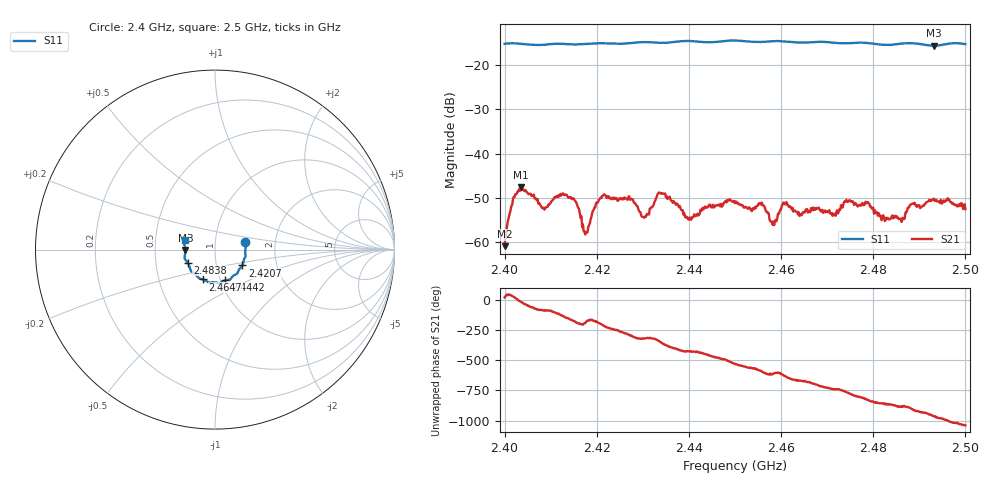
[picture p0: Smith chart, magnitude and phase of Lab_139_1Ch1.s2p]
# Hz S RI R 50
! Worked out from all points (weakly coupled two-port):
!   601 points, 2.4 GHz to 2.5 GHz, reference 50 ohm
!   highest |S21| = -47.63 dB at 2.4035 GHz (marker M1); lowest = -60.9 dB at 2.4 GHz (marker M2)
!   lowest |S11| = -15.6 dB at 2.4932 GHz (marker M3), VSWR 1.40, Z = 35.8 - j0.137 ohm
!   |S11| at or under -10 dB: start of sweep to end of sweep
!   S12 and S22 are empty: the file has one direction only
!   S11 on the Smith chart (normalised r, x): 2.4 GHz: 1.40, +0.12; 2.4207 GHz: 1.34, -0.24; 2.4442 GHz: 1.05, -0.37; 2.4647 GHz: 0.83, -0.29; 2.4838 GHz: 0.73, -0.11; 2.5 GHz: 0.71, +0.07
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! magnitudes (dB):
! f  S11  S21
! 2.4 GHz  -15.2  -60.9
! 2.4018 GHz  -15.1  -50.2
! 2.4035 GHz  -15.2  -47.6
! 2.4085 GHz  -15.4  -52.2
! 2.4132 GHz  -15.3  -49.2
! 2.4167 GHz  -15.3  -54.2
! 2.4178 GHz  -15.2  -57.8
! 2.4207 GHz  -15.1  -50.2
! 2.4302 GHz  -14.8  -54.3
! 2.4333 GHz  -15.0  -49.0
! 2.44 GHz  -14.6  -54.9
! 2.4442 GHz  -14.9  -52.1
! 2.45 GHz  -14.5  -51.2
! 2.4582 GHz  -14.6  -56.1
! 2.4607 GHz  -14.6  -51.1
! 2.4647 GHz  -14.9  -53.3
! 2.4667 GHz  -14.8  -52.8
! 2.4787 GHz  -15.0  -51.1
! 2.4833 GHz  -15.5  -54.8
! 2.4838 GHz  -15.4  -54.7
! 2.4932 GHz  -15.6  -50.2
! 2.5 GHz  -15.3  -52.6
